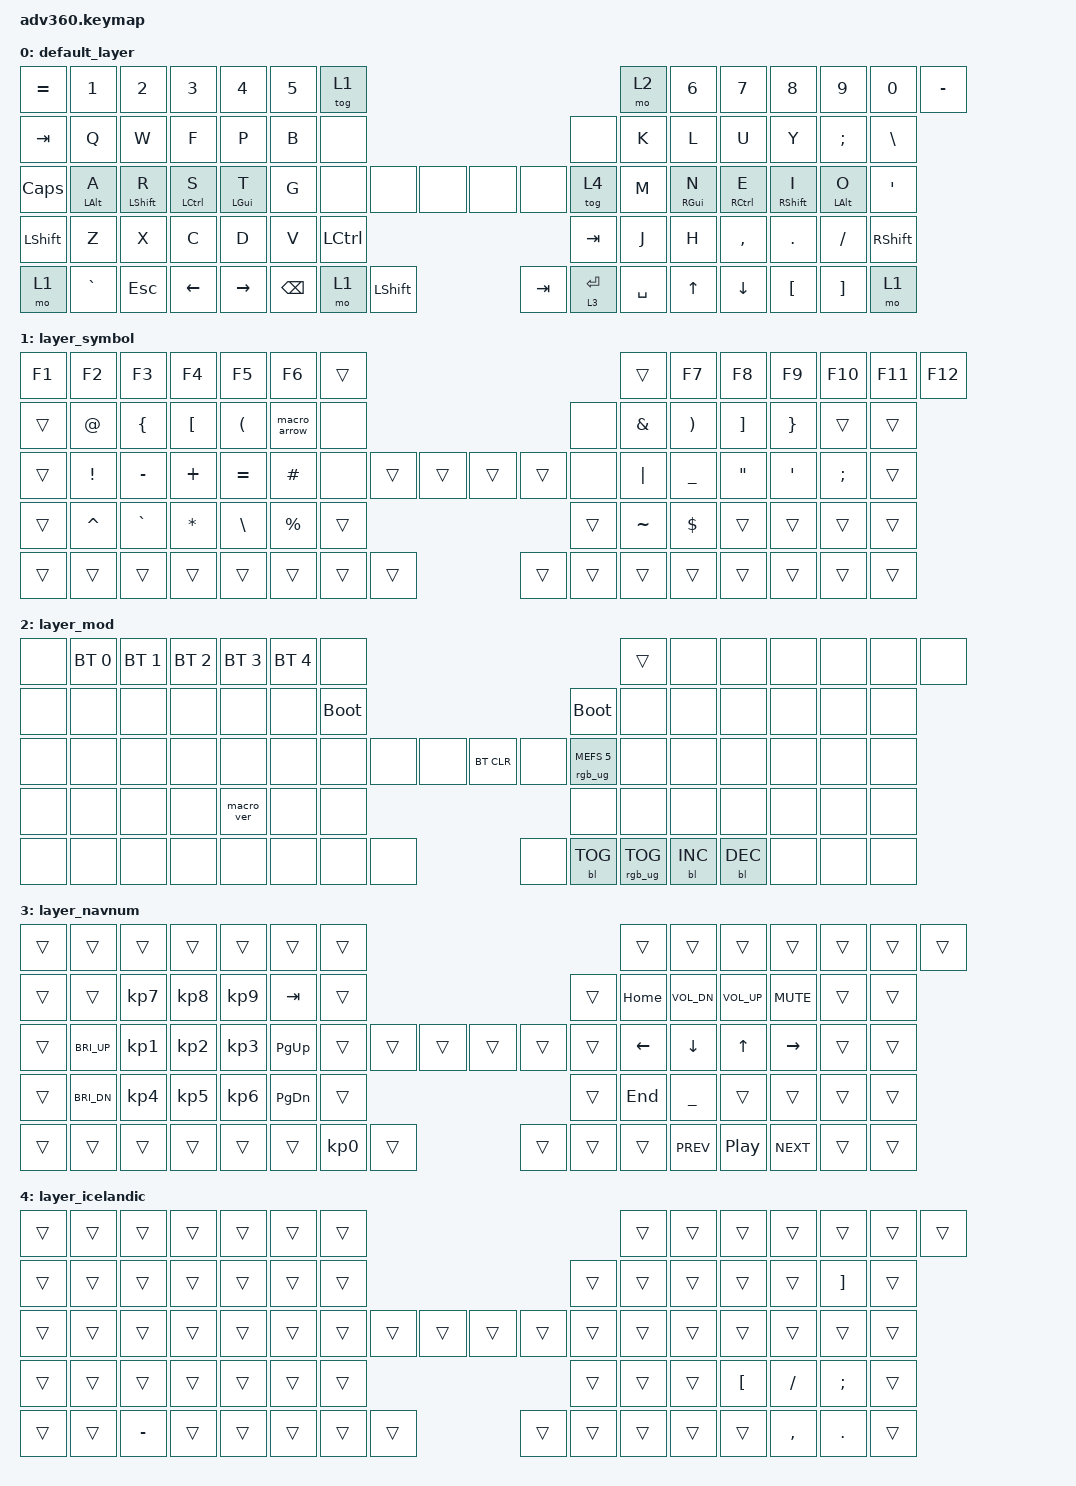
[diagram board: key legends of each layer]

/*
 * Copyright (c) 2020 The ZMK Contributors
 *
 * SPDX-License-Identifier: MIT
 */


/* THIS FILE WAS GENERATED!
 *
 * This file was generated automatically. You may or may not want to
 * edit it directly.
 */

#include <behaviors.dtsi>
#include <dt-bindings/zmk/keys.h>
#include <dt-bindings/zmk/bt.h>
#include <dt-bindings/zmk/rgb.h>
#include <dt-bindings/zmk/backlight.h>

/ {
  behaviors {
    #include "macros.dtsi"
    #include "version.dtsi"

    hm: homerow_mods {
        compatible = "zmk,behavior-hold-tap";
        label = "HOMEROW_MODS";
        #binding-cells = <2>;
        tapping-term-ms = <200>;
        quick_tap_ms = <0>;
        flavor = "balanced";
        bindings = <&kp>, <&kp>;
    };
  };

    keymap {
        compatible = "zmk,keymap";


        default_layer {
            bindings = <
 &kp EQUAL              &kp N1          &kp N2          &kp N3            &kp N4  &kp N5              &tog 1                                                                    &mo 2  &kp N6             &kp N7           &kp N8          &kp N9               &kp N0  &kp MINUS
   &kp TAB               &kp Q           &kp W           &kp F             &kp P   &kp B               &none                                                                    &none   &kp K              &kp L            &kp U           &kp Y             &kp SEMI   &kp BSLH
   &kp CAPS  &hm LEFT_ALT A  &hm LEFT_SHIFT R  &hm LEFT_CONTROL S  &hm LEFT_GUI T   &kp G               &none   &none           &none                    &none        &none     &tog 4   &kp M  &hm RIGHT_GUI N  &hm RIGHT_CONTROL E  &hm RIGHT_SHIFT I  &hm LEFT_ALT O    &kp SQT
 &kp LSHFT               &kp Z           &kp X           &kp C             &kp D   &kp V                                   &kp LCTRL                  &kp TAB                           &kp J              &kp H        &kp COMMA         &kp DOT             &kp FSLH  &kp RSHFT
     &mo 1           &kp GRAVE        &kp ESC        &kp LEFT         &kp RIGHT                    &kp BSPC   &mo 1  &kp LEFT_SHIFT                  &kp TAB  &lt 3 ENTER  &kp SPACE                     &kp UP         &kp DOWN        &kp LBKT             &kp RBKT      &mo 1
            >;
        };

        layer_symbol {
            bindings = <
 &kp F1       &kp F2          &kp F3            &kp F4                &kp F5        &kp F6            &trans                                                  &trans     &kp F7                 &kp F8             &kp F9           &kp F10        &kp F11  &kp F12
 &trans  &kp AT_SIGN  &kp LEFT_BRACE  &kp LEFT_BRACKET  &kp LEFT_PARENTHESIS  &macro_arrow             &none                                                   &none   &kp AMPS  &kp RIGHT_PARENTHESIS  &kp RIGHT_BRACKET   &kp RIGHT_BRACE         &trans   &trans
 &trans     &kp EXCL       &kp MINUS          &kp PLUS             &kp EQUAL      &kp HASH             &none  &trans  &trans                  &trans  &trans   &none   &kp PIPE              &kp UNDER  &kp DOUBLE_QUOTES  &kp SINGLE_QUOTE  &kp SEMICOLON   &trans
 &trans    &kp CARET       &kp GRAVE          &kp STAR         &kp BACKSLASH   &kp PERCENT                            &trans                  &trans                  &kp TILDE             &kp DOLLAR             &trans            &trans         &trans   &trans
 &trans       &trans          &trans            &trans                &trans                          &trans  &trans  &trans                  &trans  &trans  &trans                            &trans             &trans            &trans         &trans   &trans
            >;
        };

        layer_mod {
            bindings = <
  &none  &bt BT_SEL 0  &bt BT_SEL 1  &bt BT_SEL 2  &bt BT_SEL 3  &bt BT_SEL 4                  &none                                                                          &trans   &none       &none       &none   &none   &none   &none
  &none         &none         &none         &none         &none         &none            &bootloader                                                                     &bootloader   &none       &none       &none   &none   &none   &none
  &none         &none         &none         &none         &none         &none                  &none   &none   &none                  &bt BT_CLR       &none  &rgb_ug RGB_MEFS_CMD 5   &none       &none       &none   &none   &none   &none
  &none         &none         &none         &none    &macro_ver         &none                                  &none                       &none                                       &none       &none       &none   &none   &none   &none
  &none         &none         &none         &none         &none                                &none   &none   &none                       &none  &bl BL_TOG         &rgb_ug RGB_TOG          &bl BL_INC  &bl BL_DEC   &none   &none   &none
            >;
        };

        layer_navnum {
            bindings = <
 &trans        &trans           &trans           &trans           &trans         &trans            &trans                                                     &trans          &trans          &trans        &trans           &trans  &trans  &trans
 &trans        &trans  &kp KP_NUMBER_7  &kp KP_NUMBER_8  &kp KP_NUMBER_9        &kp TAB            &trans                                                     &trans        &kp HOME    &kp C_VOL_DN  &kp C_VOL_UP       &kp C_MUTE  &trans  &trans
 &trans  &kp C_BRI_UP  &kp KP_NUMBER_1  &kp KP_NUMBER_2  &kp KP_NUMBER_3    &kp PAGE_UP            &trans     &trans  &trans                  &trans  &trans  &trans  &kp LEFT_ARROW  &kp DOWN_ARROW  &kp UP_ARROW  &kp RIGHT_ARROW  &trans  &trans
 &trans  &kp C_BRI_DN  &kp KP_NUMBER_4  &kp KP_NUMBER_5  &kp KP_NUMBER_6  &kp PAGE_DOWN                               &trans                  &trans                         &kp END  &kp UNDERSCORE        &trans           &trans  &trans  &trans
 &trans        &trans           &trans           &trans           &trans                           &trans  &kp KP_N0  &trans                  &trans  &trans  &trans                      &kp C_PREV      &kp C_PP       &kp C_NEXT  &trans  &trans
            >;
        };

        layer_icelandic {
            bindings = <
 &trans  &trans     &trans  &trans  &trans  &trans            &trans                                                  &trans  &trans  &trans            &trans     &trans             &trans  &trans
 &trans  &trans     &trans  &trans  &trans  &trans            &trans                                                  &trans  &trans  &trans            &trans     &trans  &kp RIGHT_BRACKET  &trans
 &trans  &trans     &trans  &trans  &trans  &trans            &trans  &trans  &trans                  &trans  &trans  &trans  &trans  &trans            &trans     &trans             &trans  &trans
 &trans  &trans     &trans  &trans  &trans  &trans                            &trans                  &trans                  &trans  &trans  &kp LEFT_BRACKET  &kp SLASH      &kp SEMICOLON  &trans
 &trans  &trans  &kp MINUS  &trans  &trans                    &trans  &trans  &trans                  &trans  &trans  &trans          &trans            &trans  &kp COMMA            &kp DOT  &trans
            >;
        };

    };
};
